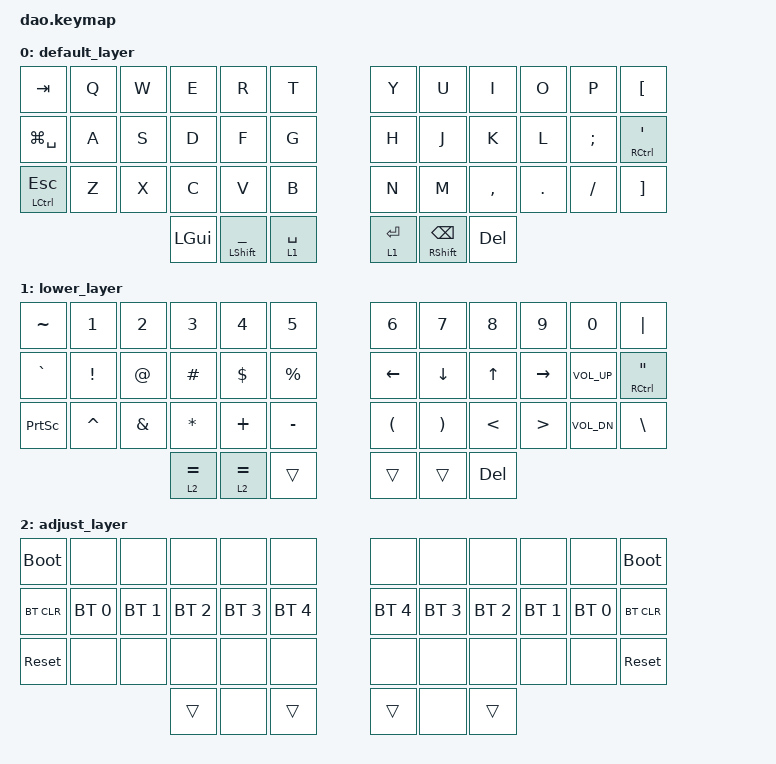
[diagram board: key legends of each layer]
/*
 * Copyright (c) 2021 Rafael Yumagulov
 *
 * SPDX-License-Identifier: MIT
 */

#include <behaviors.dtsi>
#include <dt-bindings/zmk/bt.h>
#include <dt-bindings/zmk/keys.h>

#define DEF 0
#define LWR 1
#define RSE 2
#define ADJ 3

&lt { quick_tap_ms = <200>; };

&mt { quick_tap_ms = <200>; };

/ {
    chosen {
        zmk,matrix_transform = &default_transform;

        // zmk,matrix_transform = &extra_keys_transform;
    };
};

/ {
    keymap {
        compatible = "zmk,keymap";

        default_layer {
            bindings = <
&kp TAB                  &kp Q  &kp W  &kp E         &kp R                 &kp T        &kp Y        &kp U           &kp I      &kp O    &kp P     &kp LBKT
&kp LG(SPACE)            &kp A  &kp S  &kp D         &kp F                 &kp G        &kp H        &kp J           &kp K      &kp L    &kp SEMI  &mt RCTRL SQT
&mt LEFT_CONTROL ESCAPE  &kp Z  &kp X  &kp C         &kp V                 &kp B        &kp N        &kp M           &kp COMMA  &kp DOT  &kp FSLH  &kp RIGHT_BRACKET
                                       &kp LEFT_GUI  &mt LSHFT UNDERSCORE  &lt 1 SPACE  &lt 1 ENTER  &mt RSHFT BSPC  &kp DEL
            >;
        };

        lower_layer {
            bindings = <
&kp TILDE  &kp N1     &kp N2    &kp N3       &kp N4       &kp N5     &kp N6    &kp N7    &kp N8   &kp N9     &kp N0        &kp PIPE
&kp GRAVE  &kp EXCL   &kp AT    &kp HASH     &kp DLLR     &kp PRCNT  &kp LEFT  &kp DOWN  &kp UP   &kp RIGHT  &kp C_VOL_UP  &mt RCTRL DQT
&kp PSCRN  &kp CARET  &kp AMPS  &kp STAR     &kp PLUS     &kp MINUS  &kp LPAR  &kp RPAR  &kp LT   &kp GT     &kp C_VOL_DN  &kp BSLH
                                &lt 2 EQUAL  &lt 2 EQUAL  &trans     &trans    &trans    &kp DEL
            >;
        };

        adjust_layer {
            bindings = <
&bootloader  &none         &none         &none         &none         &none         &none         &none         &none         &none         &none         &bootloader
&bt BT_CLR   &bt BT_SEL 0  &bt BT_SEL 1  &bt BT_SEL 2  &bt BT_SEL 3  &bt BT_SEL 4  &bt BT_SEL 4  &bt BT_SEL 3  &bt BT_SEL 2  &bt BT_SEL 1  &bt BT_SEL 0  &bt BT_CLR
&sys_reset   &none         &none         &none         &none         &none         &none         &none         &none         &none         &none         &sys_reset
                                         &trans        &none         &trans        &trans        &none         &trans
            >;
        };
    };
};
